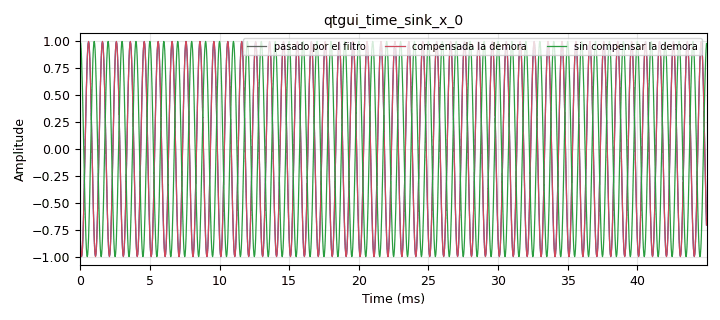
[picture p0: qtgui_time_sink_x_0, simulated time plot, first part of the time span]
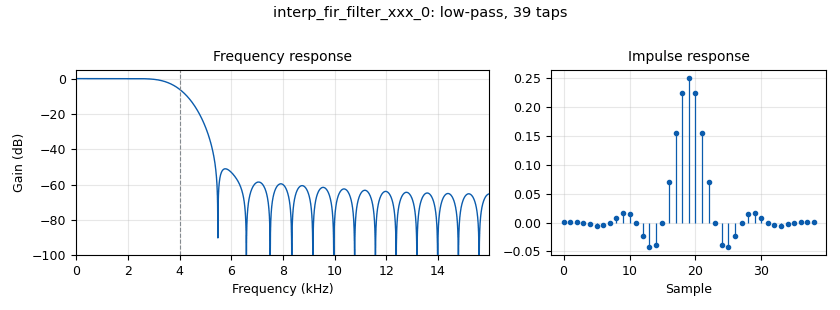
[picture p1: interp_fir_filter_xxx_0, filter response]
options:
  parameters:
    generate_options: qt_gui
    id: top_block
    output_language: python
  states: {}

blocks:
- name: fcia
  id: variable_qtgui_range
  parameters:
    label: fica
    start: '0'
    step: '100'
    stop: samp_rate/2
    value: 1e3
  states: {}
- name: samp_rate
  id: variable
  parameters:
    value: '32000'
  states: {}
- name: variable_low_pass_filter_taps_0
  id: variable_low_pass_filter_taps
  parameters:
    cutoff_freq: samp_rate/8
    gain: '1.0'
    samp_rate: samp_rate
    width: '2000'
    win: window.WIN_HAMMING
  states: {}
- name: analog_sig_source_x_0
  id: analog_sig_source_x
  parameters:
    amp: '1'
    freq: fcia
    offset: '0'
    phase: '0'
    samp_rate: samp_rate
    type: float
    waveform: analog.GR_COS_WAVE
  states: {}
- name: blocks_delay_0
  id: blocks_delay
  parameters:
    comment: (len(variable_low_pass_filter_taps_0)-1)/2
    delay: int((len(variable_low_pass_filter_taps_0)-1)/2)
    type: float
  states: {}
- name: blocks_throttle2_0
  id: blocks_throttle2
  parameters:
    samples_per_second: samp_rate
    type: float
  states: {}
- name: interp_fir_filter_xxx_0
  id: interp_fir_filter_xxx
  parameters:
    interp: '1'
    taps: variable_low_pass_filter_taps_0
    type: fff
  states: {}
- name: qtgui_time_sink_x_0
  id: qtgui_time_sink_x
  parameters:
    ctrlpanel: 'True'
    grid: 'True'
    label1: pasado por el filtro
    label2: compensada la demora
    label3: sin compensar la demora
    nconnections: '3'
    size: '4096'
    srate: samp_rate
    type: float
  states: {}

connections:
- [analog_sig_source_x_0, '0', blocks_delay_0, '0']
- [analog_sig_source_x_0, '0', interp_fir_filter_xxx_0, '0']
- [analog_sig_source_x_0, '0', qtgui_time_sink_x_0, '2']
- [blocks_delay_0, '0', qtgui_time_sink_x_0, '1']
- [blocks_throttle2_0, '0', qtgui_time_sink_x_0, '0']
- [interp_fir_filter_xxx_0, '0', blocks_throttle2_0, '0']

metadata:
  file_format: 1
  grc_version: 3.10.12.0
